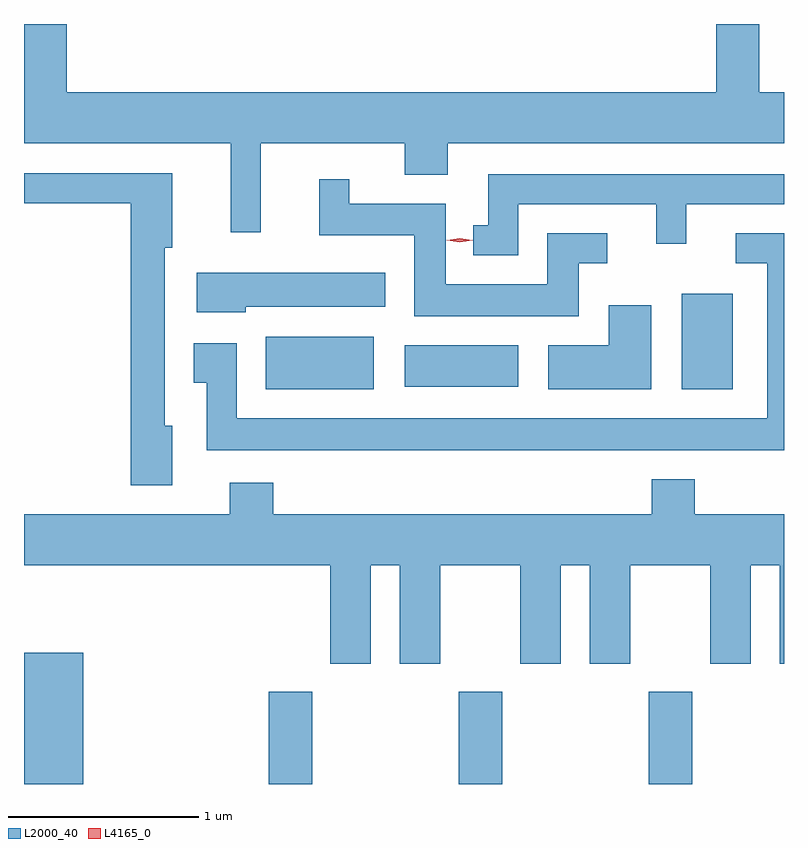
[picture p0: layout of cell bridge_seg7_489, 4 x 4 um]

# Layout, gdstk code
import gdstk
lib = gdstk.Library(unit=1e-6, precision=1e-09)
def R(c, l, rs):  # rectangles x0, y0, x1, y1
    for r in rs: c.add(gdstk.rectangle(r[:2], r[2:], *l))
def A(c, l, x, y, w, h, nx, ny, dx, dy):  # array of equal rectangles
    R(c, l, [(x+i*dx, y+j*dy, x+i*dx+w, y+j*dy+h) for i in range(nx) for j in range(ny)])
def P(c, l, *ps):  # polygons
    for p in ps: c.add(gdstk.Polygon(p, *l))
L2000_40 = (2000, 40)
L4165_0 = (4165, 0)

bridge_seg7_489 = lib.new_cell('bridge_seg7_489')
A(bridge_seg7_489, L2000_40, 1339.706, 1710.944, 0.228, 0.485, 3, 1, 1, 0)
R(bridge_seg7_489, L2000_40, [(1338.418,1710.944,1338.729,1711.634), (1339.691,1713.021,1340.259,1713.299), (1341.881,1713.021,1342.149,1713.524), (1340.421,1713.036,1341.019,1713.254)])
P(bridge_seg7_489, L2000_40, [(1339.664,1714.316),(1340.421,1714.316),(1340.421,1714.151),(1340.649,1714.151),(1340.649,1714.316),(1342.418,1714.316),(1342.418,1714.584),(1342.289,1714.584),(1342.289,1714.944),(1342.061,1714.944),(1342.061,1714.584),(1338.644,1714.584),(1338.644,1714.944),(1338.418,1714.944),(1338.418,1714.316),(1339.506,1714.316),(1339.506,1713.848),(1339.664,1713.848)],
  [(1339.199,1712.829),(1339.159,1712.829),(1339.159,1713.766),(1339.199,1713.766),(1339.199,1714.159),(1338.418,1714.159),(1338.418,1714.001),(1338.981,1714.001),(1338.981,1712.516),(1339.199,1712.516)],
  [(1341.019,1713.996),(1341.746,1713.996),(1341.746,1713.788),(1341.904,1713.788),(1341.904,1713.996),(1342.418,1713.996),(1342.418,1714.154),(1340.861,1714.154),(1340.861,1713.884),(1340.783,1713.884),(1340.783,1713.726),(1341.019,1713.726)],
  [(1341.339,1713.686),(1341.488,1713.686),(1341.488,1713.844),(1341.171,1713.844),(1341.171,1713.574),(1340.639,1713.574),(1340.639,1713.999),(1340.129,1713.999),(1340.129,1714.128),(1339.971,1714.128),(1339.971,1713.831),(1340.471,1713.831),(1340.471,1713.406),(1341.339,1713.406)],
  [(1342.418,1713.844),(1342.163,1713.844),(1342.163,1713.686),(1342.331,1713.686),(1342.331,1712.869),(1339.539,1712.869),(1339.539,1713.264),(1339.311,1713.264),(1339.311,1713.056),(1339.381,1713.056),(1339.381,1712.701),(1342.418,1712.701)],
  [(1339.584,1713.456),(1340.319,1713.456),(1340.319,1713.634),(1339.326,1713.634),(1339.326,1713.426),(1339.584,1713.426)],
  [(1341.719,1713.464),(1341.496,1713.464),(1341.496,1713.254),(1341.176,1713.254),(1341.176,1713.021),(1341.719,1713.021)],
  [(1339.729,1712.529),(1339.501,1712.529),(1339.501,1712.364),(1338.418,1712.364),(1338.418,1712.096),(1340.031,1712.096),(1340.031,1711.576),(1340.244,1711.576),(1340.244,1712.096),(1340.396,1712.096),(1340.396,1711.576),(1340.609,1711.576),(1340.609,1712.096),(1341.031,1712.096),(1341.031,1711.576),(1341.244,1711.576),(1341.244,1712.096),(1341.396,1712.096),(1341.396,1711.576),(1341.609,1711.576),(1341.609,1712.096),(1342.031,1712.096),(1342.031,1711.576),(1342.244,1711.576),(1342.244,1712.096),(1342.396,1712.096),(1342.396,1711.576),(1342.418,1711.576),(1342.418,1712.364),(1341.949,1712.364),(1341.949,1712.549),(1341.721,1712.549),(1341.721,1712.364),(1339.729,1712.364)])
P(bridge_seg7_489, L4165_0, [(1340.712,1713.796),(1340.642,1713.805),(1340.642,1713.806),(1340.642,1713.806),(1340.712,1713.816),(1340.781,1713.807),(1340.781,1713.807),(1340.781,1713.806)])

lib.write_gds('bridge_seg7_489.gds')
